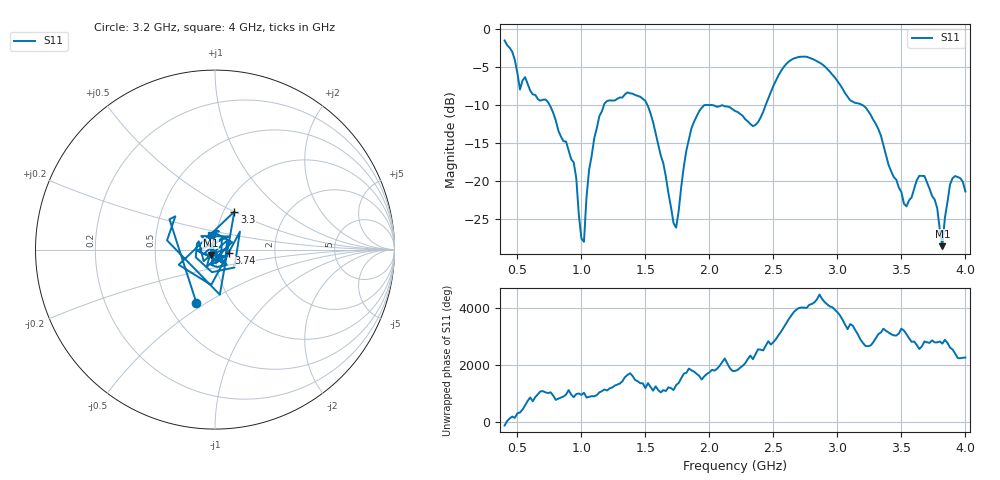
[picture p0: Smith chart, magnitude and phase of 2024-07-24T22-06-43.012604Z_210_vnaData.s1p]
!Created with skrf (http://scikit-rf.org).
# Hz S RI R 50.0
!freq ReS11 ImS11
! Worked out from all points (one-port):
!   181 points, 400 MHz to 4 GHz, reference 50 ohm
!   lowest |S11| = -28.6 dB at 3.82 GHz (marker M1), VSWR 1.08, Z = 47.7 - j2.79 ohm
!   |S11| at or under -10 dB: 751.2 MHz to 1.177 GHz (425.4 MHz wide, 44.1 % of centre); 1.515 GHz to 2.44 GHz (924.6 MHz wide, 46.8 % of centre); 3.193 GHz to end of sweep
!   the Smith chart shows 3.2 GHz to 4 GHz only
!   S11 on the Smith chart (normalised r, x): 3.2 GHz: 0.69, -0.45; 3.3 GHz: 1.12, +0.50; 3.74 GHz: 1.16, -0.05; 4 GHz: 0.95, +0.16
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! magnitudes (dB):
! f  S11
! 400 MHz  -1.5
! 520 MHz  -8.0
! 740 MHz  -9.7
! 860 MHz  -14.8
! 940 MHz  -17.6
! 1 GHz  -27.6
! 1.02 GHz  -28.1
! 1.06 GHz  -18.6
! 1.14 GHz  -11.5
! 1.3 GHz  -9.0
! 1.5 GHz  -9.5
! 1.64 GHz  -17.7
! 1.72 GHz  -25.6
! 1.76 GHz  -24.0
! 1.82 GHz  -16.0
! 1.92 GHz  -10.8
! 2.2 GHz  -10.8
! 2.36 GHz  -12.6
! 2.66 GHz  -3.9
! 3.1 GHz  -9.4
! 3.2 GHz  -10.1
! 3.3 GHz  -12.5
! 3.56 GHz  -22.6
! 3.64 GHz  -19.3
! 3.74 GHz  -22.0
! 3.82 GHz  -28.6
! 3.9 GHz  -19.7
! 4 GHz  -21.4
